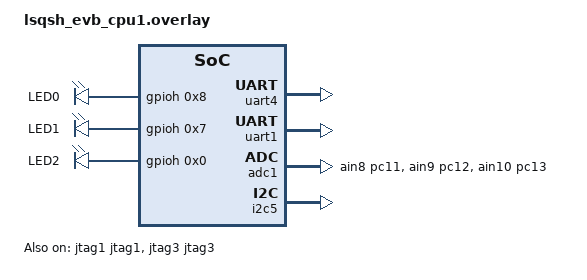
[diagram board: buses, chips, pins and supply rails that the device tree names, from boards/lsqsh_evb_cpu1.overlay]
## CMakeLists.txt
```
# SPDX-License-Identifier: Apache-2.0

cmake_minimum_required(VERSION 3.20.0)

find_package(Zephyr REQUIRED HINTS $ENV{ZEPHYR_BASE})
project(devfs)

target_sources(app PRIVATE src/main.c)
```

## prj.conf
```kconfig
# nothing here
CONFIG_JTAG=y
CONFIG_SHELL=y
CONFIG_POSIX_API=y
CONFIG_XOPEN_STREAMS=y
CONFIG_FILE_SYSTEM_MAX_TYPES=8
CONFIG_LOG=y
CONFIG_FILE_SYSTEM_SHELL=y
CONFIG_DEVFS=y
CONFIG_SYSFS=y
CONFIG_ZEPHYR_DEVFS_DRIVER=y
CONFIG_SHELL_STACK_SIZE=4096
CONFIG_LED=y
```

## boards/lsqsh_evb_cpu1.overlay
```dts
&pinctrl{
    /omit-if-no-ref/mjtag1_gpio_pn10: mjtag1_gpio_pn10 {
        pinmux = <PN10>;
        gpio;
        output-enable;
    };
    /omit-if-no-ref/mjtag3_gpio_pf02: mjtag3_gpio_pf02 {
        pinmux = <PF02>;
        gpio;
        output-enable;
    };
};

&jtag1 {
    pinctrl-0 = <&mjtag1_tck_pn06 &mjtag1_tms_pn07 &mjtag1_tdi_pn09 &mjtag1_tdo_pn08 &mjtag1_trst_pn10>;
    pinctrl-1 = <&mjtag1_gpio_pn06 &mjtag1_gpio_pn07 &mjtag1_gpio_pn09 &mjtag1_gpio_pn10>;
    tck-gpios = <&gpion 6 0>;
    tms-gpios = <&gpion 7 0>;
    tdi-gpios = <&gpion 9 0>;
    tdo-gpios = <&gpion 8 0>;
    trst-gpios = <&gpion 10 0>;
    pinctrl-names = "default", "priv_start";
    label = "jtag1";
    status = "okay";
};

&jtag3 {
    pinctrl-0 = <&mjtag3_tck_pf04 &mjtag3_tms_pf08 &mjtag3_tdi_pf06 &mjtag3_tdo_pf10>;
    pinctrl-1 = <&mjtag3_gpio_pf04 &mjtag3_gpio_pf08 &mjtag3_gpio_pf06>;
    tck-gpios = <&gpiof 4 0>;
    tms-gpios = <&gpiof 8 0>;
    tdi-gpios = <&gpiof 6 0>;
    tdo-gpios = <&gpiof 10 0>;
    trst-gpios = <&gpiof 2 0>;
    pinctrl-names = "default", "priv_start";
    label = "jtag3";
    status = "okay";
};

&gpioa {
    label = "gpiochip0";
    ngpios = <16>;
    status = "okay";
    gpio-line-names =
    /*A0-A7*/	"","","","","","","","",
    /*B0-B7*/	"","","","BMC_READY_OUT_N","","","","";
};

&gpiob {
    label = "gpiochip1";
    ngpios = <16>;
    status = "okay";
    gpio-line-names =
    /*A0-A7*/	"","","","","","","","",
    /*B0-B7*/	"","","","kaka","","","","";
};

&gpioc {
    label = "gpiochip2";
    ngpios = <16>;
    status = "okay";
    gpio-line-names =
    /*A0-A7*/	"","","","","","","","",
    /*B0-B7*/	"","","","","","","","";
};

&gpiod {
    label = "gpiochip3";
    ngpios = <16>;
    status = "okay";
    gpio-line-names =
    /*A0-A7*/	"","","","","","","","",
    /*B0-B7*/	"","","","","","","","";
};

&gpioe {
    label = "gpiochip4";
    ngpios = <16>;
    status = "okay";
    gpio-line-names =
    /*A0-A7*/	"","","","","","","","",
    /*B0-B7*/	"","","","","","","","";
};

&gpiof {
    label = "gpiochip5";
    ngpios = <16>;
    status = "okay";
    gpio-line-names =
    /*A0-A7*/	"","","","","","","","",
    /*B0-B7*/	"","","","","","","","";
};

&gpiog {
    label = "gpiochip6";
    ngpios = <16>;
    status = "okay";
    gpio-line-names =
    /*A0-A7*/	"","","","","","","","",
    /*B0-B7*/	"","","","","","","","";
};

&gpioh {
    label = "gpiochip7";
    ngpios = <16>;
    status = "okay";
    gpio-line-names =
    /*A0-A7*/	"","","","","","","","",
    /*B0-B7*/	"","","","","","","","";
};

&gpioi {
    label = "gpiochip8";
    ngpios = <16>;
    status = "okay";
    gpio-line-names =
    /*A0-A7*/	"","","","","","","","",
    /*B0-B7*/	"","","","","","","","";
};

&gpioj {
    label = "gpiochip9";
    ngpios = <16>;
    status = "okay";
    gpio-line-names =
    /*A0-A7*/	"","","","","","","","",
    /*B0-B7*/	"","","","","","","","";
};

&gpiok {
    label = "gpiochip10";
    ngpios = <16>;
    status = "okay";
    gpio-line-names =
    /*A0-A7*/	"","","","","","","","",
    /*B0-B7*/	"","","","","","","","";
};

&gpiom {
    label = "gpiochip11";
    ngpios = <16>;
    status = "okay";
    gpio-line-names =
    /*A0-A7*/	"","","","","","","","",
    /*B0-B7*/	"","","","","","","","";
};

&gpion {
    label = "gpiochip12";
    ngpios = <16>;
    status = "okay";
    gpio-line-names =
    /*A0-A7*/	"","","","","","","","",
    /*B0-B7*/	"","","","","","","","";
};

&gpioq {
    label = "gpiochip13";
    ngpios = <16>;
    status = "okay";
    gpio-line-names =
    /*A0-A7*/	"","","","","","","","",
    /*B0-B7*/	"","","","","","","","";
};

&gpiot {
    label = "gpiochip14";
    ngpios = <16>;
    status = "okay";
    gpio-line-names =
    /*A0-A7*/	"","","","","","","","",
    /*B0-B7*/	"","","","","","","","";
};

&uart4 {
    label = "ttyS0";
    status = "okay";
};

&uart1 {
    label = "ttyS1";
    status = "okay";
};

&adc1 {
    #address-cells = <1>;
    #size-cells = <0>;
    pinctrl-0 = <&adc1_ain8_pc11 &adc1_ain9_pc12 &adc1_ain10_pc13>;
    pinctrl-names = "default";
    conversion_mode = <regular_mode>;
    data_align = <ADC_DATAALIGN_RIGHT>;
    continuous_conv_mode = <continuous>;
    nbr_of_conversion = <3>;
    discontinuous_conv_mode = <discontinuous>;
    nbr_of_disc_conversion = <0>;
    trig_type = <ADC_SOFTWARE_TRIGT>;
    adc_drive_type = <BINBUF_DIRECT_DRIVE_ADC>;
    adc_clk_div = <256>;
    clk_cfg = <ADC_CH_CLOCK_DIV8>;
    injected_offset = <0>;
    fif_ctrl1 = <0xFFFF>;
    #hwmon-in-cells = <1>;
    status = "okay";
};

&i2c5 {
    status = "okay";
    label = "i2c-5";
    #hwmon-in-cells = <1>;
};

/ {
    hwmon0 {
        compatible = "linkedsemi,hwmon";
        class = < 0x2 >;
        label = "hwmon0"; // sysfs dir name
        hwmon-ins = < &adc1 0x8 >, < &adc1 0x9 >, < &adc1 0xa >;
        status = "okay";
    };

    hwmon1 { 
        compatible = "linkedsemi,hwmon";
        class = <5>;
        label = "hwmon1";
        hwmon-ins = <&i2c5 0x60>;
    };

    leds: leds {
        compatible = "gpio-leds";
        led0 {
            gpios = < &gpioh 0x8 0x0 >;
            label = "LED0";
        };
        led1 {
            gpios = < &gpioh 0x7 0x0 >;
            label = "LED1";
        };
        led2 {
            gpios = < &gpioh 0x0 0x0 >;
            label = "LED2";
        };
        label = "leds";
    };
};
```

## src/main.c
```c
/*
 * Copyright (c) 2012-2014 Wind River Systems, Inc.
 *
 * SPDX-License-Identifier: Apache-2.0
 */

#include <zephyr/kernel.h>

int main(void)
{
    printk("devfs and sysfs!!\n");
    return 0;
}
 
```

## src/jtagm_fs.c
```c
/*
 * Copyright (c) 2016 Intel Corporation.
 * Copyright 2024 NXP
 *
 * SPDX-License-Identifier: Apache-2.0
 */

#include <stdarg.h>
#include <zephyr/fs/fs.h>
#include <zephyr/fs/fs_sys.h>
#include <zephyr/device.h>
#include <zephyr/devicetree.h>
#include <zephyr/logging/log.h>
#include <zephyr/sys/atomic.h>
#include <zephyr/posix/fcntl.h>
#include <zephyr/sys/fdtable.h>
#include <zephyr/drivers/jtag.h>
#include "jtagm_fs.h"
#include <zephyr/fs/devfs.h>

#include "ioctl.h"

#define DT_DRV_COMPAT linkedsemi_ls_jtag

LOG_MODULE_REGISTER(jtagm_dev, LOG_LEVEL_INF);
#define JTAGM_NUM       DT_NUM_INST_STATUS_OKAY(DT_DRV_COMPAT)

struct jtagm_device
{
    const struct device *dev;
    const char *label;
    atomic_t is_open;
};

#define JTAGM_DEVICE_PROCESS(inst)                            \
    {                                                         \
        .dev = DEVICE_DT_GET(DT_INST(inst, DT_DRV_COMPAT)),   \
        .label = DT_INST_PROP(inst, label),                   \
        .is_open = ATOMIC_INIT(0)                             \
    },

static struct jtagm_device jtag_devices[] = {
    DT_INST_FOREACH_STATUS_OKAY(JTAGM_DEVICE_PROCESS)
};

static int jtagm_open(struct fs_file_t *zfp, const char *name, fs_mode_t flags)
{
    struct jtagm_device *jtag = NULL;

    for (int i = 0; i < JTAGM_NUM; i++)
    {
        if (strcmp(jtag_devices[i].label, name) == 0)
        {
            jtag = &jtag_devices[i];
            break;
        }
    }

    if (!jtag || !device_is_ready(jtag->dev))
    {
        LOG_ERR("Device %s not ready", name);
        return -ENODEV;
    }

    if (!atomic_cas(&jtag->is_open, 0, 1))
    {
        LOG_ERR("Device %s already opened", name);
        return -EBUSY;
    }

    if(jtag_tap_set(jtag->dev, TAP_RESET))
    {
        LOG_ERR("Device %s reset fail", name);
        return -EBUSY; 
    }
    zfp->filep = jtag;

    return 0;
}

static int jtagm_close(struct fs_file_t *zfp)
{
    struct jtagm_device *jtag = zfp->filep;
    if (jtag)
    {
        atomic_set(&jtag->is_open, 0);
        jtag_tap_set(jtag->dev, TAP_RESET);
    }
    return 0;
}

static enum tap_state usr_state_2_kernel_state[JTAG_STATE_CURRENT] = {
    TAP_RESET,TAP_IDLE,
    TAP_DRSELECT,TAP_DRCAPTURE,TAP_DRSHIFT,TAP_DREXIT1,TAP_DRPAUSE,TAP_DREXIT2,TAP_DRUPDATE,
    TAP_IRSELECT,TAP_IRCAPTURE,TAP_IRSHIFT,TAP_IREXIT1,TAP_IRPAUSE,TAP_IREXIT2,TAP_IRUPDATE
};

static enum jtag_tapstate kernel_state_2_usr_state[TAP_RESET+1] = {
    JTAG_STATE_EXIT2DR,JTAG_STATE_EXIT1DR,JTAG_STATE_SHIFTDR,JTAG_STATE_PAUSEDR,
    JTAG_STATE_SELECTIR,JTAG_STATE_UPDATEDR,JTAG_STATE_CAPTUREDR,JTAG_STATE_SELECTDR,
    JTAG_STATE_EXIT2IR,JTAG_STATE_EXIT1IR,JTAG_STATE_SHIFTIR,JTAG_STATE_PAUSEIR,
    JTAG_STATE_IDLE,JTAG_STATE_UPDATEIR,JTAG_STATE_CAPTUREIR,JTAG_STATE_TLRESET
};

static int jtagm_ioctl(struct fs_file_t *zfp, unsigned long cmd, va_list args)
{
    int ret = 0;
    struct jtagm_device *jtag = zfp->filep;
    uint32_t *freq;

    switch (cmd)
    {
    case JTAG_SIOCSTATE:
        struct jtag_tap_state *tapstate = va_arg(args, struct jtag_tap_state *);
        ret = jtag_tap_set(jtag->dev, usr_state_2_kernel_state[tapstate->endstate]);
        break;
    case JTAG_IOCXFER:
        struct jtag_xfer *xfer = va_arg(args, struct jtag_xfer *);
        if (xfer->type == JTAG_SIR_XFER)
        {
            ret = jtag_ir_scan(jtag->dev, xfer->length, (const uint8_t *)(uintptr_t)xfer->tdio, NULL, TAP_IDLE);
        }
        else
        {
            ret = jtag_dr_scan(jtag->dev, xfer->length, NULL, (uint8_t *)(uintptr_t)xfer->tdio, TAP_IDLE);
        }
        break;
    case JTAG_GIOCSTATUS:
        enum jtag_tapstate *state = va_arg(args, enum jtag_tapstate *);
        ret = jtag_tap_get(jtag->dev, (enum tap_state *)state);
        *state = kernel_state_2_usr_state[*(enum tap_state *)state];
        break;
    case JTAG_SIOCMODE:
        {
            struct jtag_mode *mode = va_arg(args, struct jtag_mode *);
            switch (mode->feature) 
            {
            case JTAG_XFER_MODE:
                break;
            case JTAG_CONTROL_MODE:
                break;
            default:
                return -EINVAL;
            }
        }
        break;
    case JTAG_SIOCFREQ:
        freq = va_arg(args, uint32_t *);
        ret = jtag_freq_set(jtag->dev, *freq);
        break;
    case JTAG_GIOCFREQ:
        freq = va_arg(args, uint32_t *);
        ret = jtag_freq_get(jtag->dev, freq);
        break;
    case JTAG_IOCBITBANG:
        break;
    case JTAG_SIOCTRST:
        break;
    case ZFD_IOCTL_SET_LOCK:
        // caller is open, ignore it
        ret = 0;
        break;
    default:
        return -EINVAL;
    }

    return ret;
}

static const struct fs_file_system_t jtagm_fs = {
    .open = jtagm_open,
    .close = jtagm_close,
    .ioctl = jtagm_ioctl,
};

static int jtagm_fs_init(void)
{
    devfs_register("/dev/jtag1", &jtagm_fs);
    devfs_register("/dev/jtag3", &jtagm_fs);
    return 0;
}

SYS_INIT(jtagm_fs_init, APPLICATION, CONFIG_FILE_SYSTEM_INIT_PRIORITY);
```
